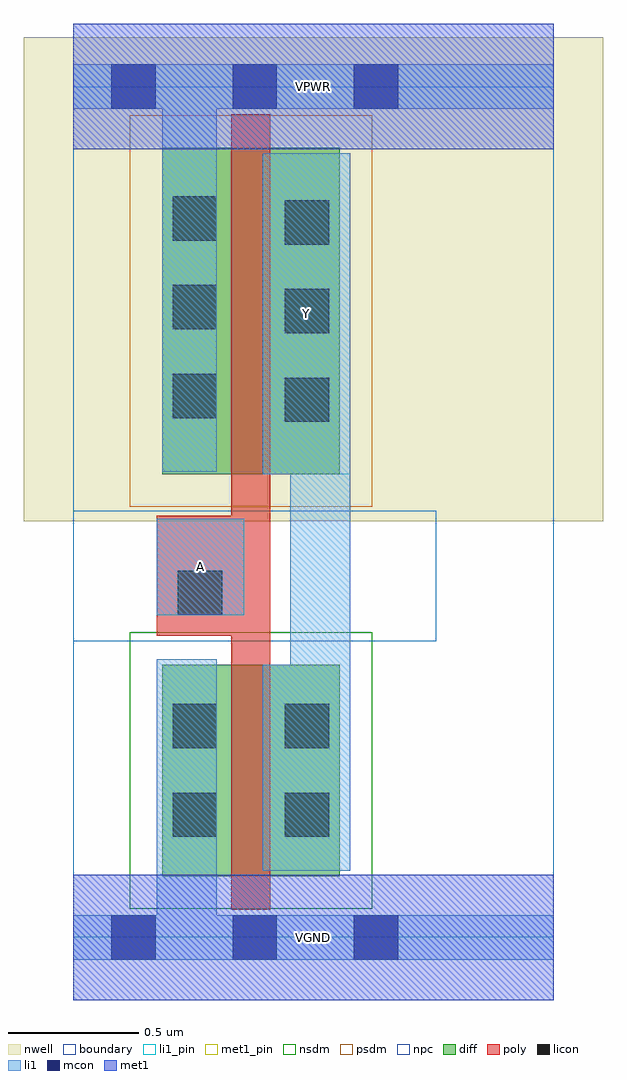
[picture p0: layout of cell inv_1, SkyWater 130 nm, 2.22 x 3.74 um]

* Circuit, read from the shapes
.subckt inv_1 A VGND VPWR Y
XM1 Y A VGND VSUBS sky130_fd_pr__nfet_01v8 w=0.81 l=0.15
XM2 Y A VPWR n1 sky130_fd_pr__pfet_01v8 w=1.25 l=0.15
.ends

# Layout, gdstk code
import gdstk
lib = gdstk.Library(unit=1e-6, precision=1e-09)
def R(c, l, rs):  # rectangles x0, y0, x1, y1
    for r in rs: c.add(gdstk.rectangle(r[:2], r[2:], *l))
def A(c, l, x, y, w, h, nx, ny, dx, dy):  # array of equal rectangles
    R(c, l, [(x+i*dx, y+j*dy, x+i*dx+w, y+j*dy+h) for i in range(nx) for j in range(ny)])
nwell = (64, 20)
diff = (65, 20)
poly = (66, 20)
licon = (66, 44)
li1_pin = (67, 16)
li1 = (67, 20)
mcon = (67, 44)
met1_pin = (68, 16)
met1 = (68, 20)
nsdm = (93, 44)
psdm = (94, 20)
npc = (95, 20)
boundary = (235, 4)

inv_1 = lib.new_cell('inv_1')
R(inv_1, nwell, [(-0.19,1.595,2.03,3.45), (0,1.595,1.84,3.45)])
R(inv_1, diff, [(0.34,0.235,1.02,1.045), (0.34,1.775,1.02,3.025)])
R(inv_1, poly, [(0.605,0.105,0.755,3.155), (0.32,1.155,0.755,1.615)])
A(inv_1, licon, 0.81, 1.975, 0.17, 0.17, 1, 3, 0, 0.34)
A(inv_1, licon, 0.38, 1.99, 0.17, 0.17, 1, 3, 0, 0.34)
R(inv_1, licon, [(0.38,0.385,0.55,0.555), (0.81,0.385,0.98,0.555), (0.38,0.725,0.55,0.895), (0.81,0.725,0.98,0.895), (0.4,1.235,0.57,1.405)])
R(inv_1, li1_pin, [(0.32,1.235,0.655,1.605), (0.725,1.775,1.06,3.005)])
R(inv_1, li1, [(0,-0.085,1.84,0.085), (0.32,-0.085,0.55,1.065), (0.725,0.255,1.06,1.045), (0.83,0.255,1.06,3.005), (0.32,1.235,0.655,1.605), (0.725,1.775,1.06,3.005), (0.34,1.785,0.55,3.345), (0,3.175,1.84,3.345)])
A(inv_1, mcon, 0.145, -0.085, 0.17, 0.17, 3, 2, 0.465, 3.26)
R(inv_1, met1_pin, [(0,-0.24,1.84,0.24), (0,3.02,1.84,3.5)])
R(inv_1, met1, [(0,-0.24,1.84,0.24), (0,3.02,1.84,3.5)])
R(inv_1, nsdm, [(0.215,0.11,1.145,1.17)])
R(inv_1, psdm, [(0.215,1.65,1.145,3.15)])
R(inv_1, npc, [(0,1.135,1.39,1.635)])
R(inv_1, boundary, [(0,0,1.84,3.26)])
inv_1.add(gdstk.Label('A', (0.487,1.42), layer=67, texttype=5))
inv_1.add(gdstk.Label('Y', (0.892,2.39), layer=67, texttype=5))
inv_1.add(gdstk.Label('VPWR', (0.92,3.26), layer=68, texttype=5))
inv_1.add(gdstk.Label('VGND', (0.92,0), layer=68, texttype=5))
inv_1.add(gdstk.Label('A', (0.487,1.42), layer=67, texttype=16))
inv_1.add(gdstk.Label('Y', (0.892,2.39), layer=67, texttype=16))
inv_1.add(gdstk.Label('VPWR', (0.92,3.26), layer=68, texttype=16))
inv_1.add(gdstk.Label('VGND', (0.92,0), layer=68, texttype=16))

lib.write_gds('inv_1.gds')
